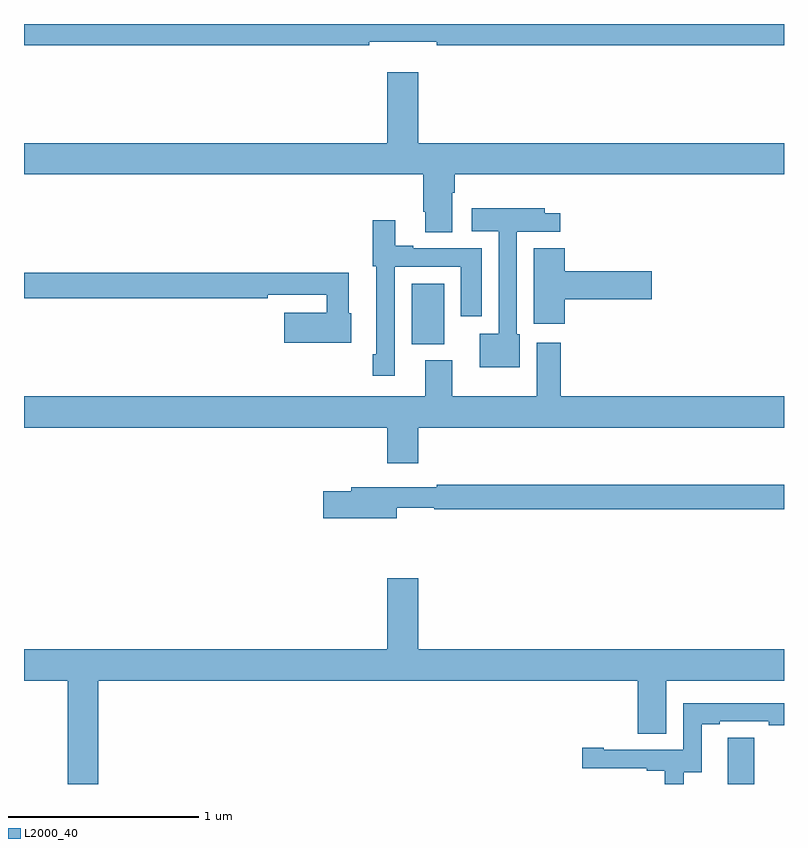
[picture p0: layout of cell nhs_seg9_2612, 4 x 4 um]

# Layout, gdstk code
import gdstk
lib = gdstk.Library(unit=1e-6, precision=1e-09)
def R(c, l, rs):  # rectangles x0, y0, x1, y1
    for r in rs: c.add(gdstk.rectangle(r[:2], r[2:], *l))
def P(c, l, *ps):  # polygons
    for p in ps: c.add(gdstk.Polygon(p, *l))
L2000_40 = (2000, 40)

nhs_seg9_2612 = lib.new_cell('nhs_seg9_2612')
R(nhs_seg9_2612, L2000_40, [(261.041,1240.814,261.211,1241.134)])
P(nhs_seg9_2612, L2000_40, [(260.816,1242.407),(261.172,1242.407),(261.172,1242.388),(263,1242.388),(263,1242.5),(259,1242.5),(259,1242.388),(260.816,1242.388)],
  [(261.253,1241.612),(261.266,1241.612),(261.266,1241.708),(263,1241.708),(263,1241.872),(261.076,1241.872),(261.076,1242.247),(260.912,1242.247),(260.912,1241.872),(259,1241.872),(259,1241.708),(261.101,1241.708),(261.101,1241.512),(261.113,1241.512),(261.113,1241.404),(261.253,1241.404)],
  [(261.61,1240.866),(261.594,1240.866),(261.594,1241.406),(261.823,1241.406),(261.823,1241.504),(261.741,1241.504),(261.741,1241.53),(261.357,1241.53),(261.357,1241.408),(261.498,1241.408),(261.498,1240.87),(261.398,1240.87),(261.398,1240.694),(261.61,1240.694)],
  [(260.952,1241.223),(261.299,1241.223),(261.299,1240.962),(261.409,1240.962),(261.409,1241.319),(261.049,1241.319),(261.049,1241.332),(260.953,1241.332),(260.953,1241.467),(260.836,1241.467),(260.836,1241.226),(260.855,1241.226),(260.855,1240.762),(260.836,1240.762),(260.836,1240.65),(260.952,1240.65)],
  [(261.845,1241.051),(262.303,1241.051),(262.303,1241.198),(261.845,1241.198),(261.845,1241.321),(261.683,1241.321),(261.683,1240.923),(261.845,1240.923)],
  [(260.722,1240.977),(260.71,1240.977),(260.71,1241.192),(259,1241.192),(259,1241.056),(260.282,1241.056),(260.282,1241.076),(260.593,1241.076),(260.593,1240.981),(260.37,1240.981),(260.37,1240.823),(260.722,1240.823)],
  [(263,1240.54),(261.824,1240.54),(261.824,1240.822),(261.698,1240.822),(261.698,1240.54),(261.253,1240.54),(261.253,1240.729),(261.113,1240.729),(261.113,1240.54),(259,1240.54),(259,1240.376),(260.912,1240.376),(260.912,1240.188),(261.076,1240.188),(261.076,1240.376),(263,1240.376)],
  [(260.962,1239.954),(261.158,1239.954),(261.158,1239.946),(263,1239.946),(263,1240.075),(261.172,1240.075),(261.172,1240.062),(260.723,1240.062),(260.723,1240.041),(260.574,1240.041),(260.574,1239.899),(260.962,1239.899)],
  [(259.391,1239.044),(262.229,1239.044),(262.229,1238.764),(262.381,1238.764),(262.381,1239.044),(263,1239.044),(263,1239.208),(261.076,1239.208),(261.076,1239.583),(260.912,1239.583),(260.912,1239.208),(259,1239.208),(259,1239.044),(259.231,1239.044),(259.231,1238.5),(259.391,1238.5)],
  [(262.473,1238.563),(262.567,1238.563),(262.567,1238.814),(262.663,1238.814),(262.663,1238.829),(262.919,1238.829),(262.919,1238.809),(263,1238.809),(263,1238.925),(262.47,1238.925),(262.47,1238.679),(262.051,1238.679),(262.051,1238.692),(261.939,1238.692),(261.939,1238.583),(262.277,1238.583),(262.277,1238.571),(262.373,1238.571),(262.373,1238.5),(262.473,1238.5)],
  [(262.843,1238.744),(262.704,1238.744),(262.704,1238.636),(262.703,1238.636),(262.703,1238.5),(262.843,1238.5)])

lib.write_gds('nhs_seg9_2612.gds')
